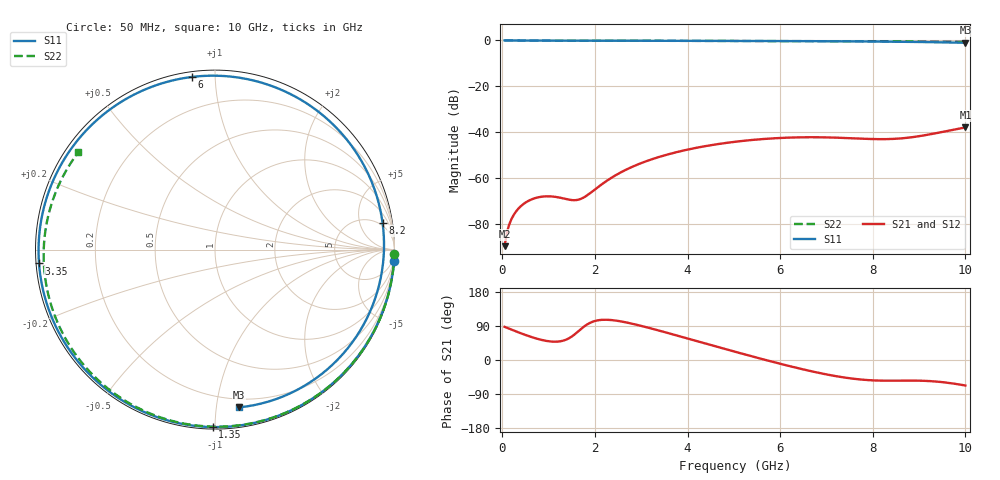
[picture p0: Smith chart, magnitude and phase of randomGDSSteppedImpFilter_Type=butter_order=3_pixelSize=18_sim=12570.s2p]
! freq	dB(S11)	phase(S11)	dB(S12)	phase(S12)
!  dB(S21)	phase(S21)	dB(S22)	phase(S22)
!S-par simulation data
#  GHz  S  DB  R 50
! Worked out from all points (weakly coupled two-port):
!   200 points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, 50 MHz to 10 GHz, reference 50 ohm
!   highest |S21| = -37.88 dB at 10 GHz (marker M1); lowest = -89.6 dB at 50 MHz (marker M2)
!   lowest |S11| = -1.0 dB at 10 GHz (marker M3), VSWR 17.04, Z = 6.87 - j57.6 ohm
!   |S11| at or under -10 dB: nowhere
!   |S22| runs from -0.6 to 0.0 dB; largest |S21 - S12| = 0
!   S11 on the Smith chart (normalised r, x): 50 MHz: 0, -30; 1.35 GHz: 0.01, -0.99; 3.35 GHz: 0.01, -0.04; 6 GHz: 0.03, +0.88; 8.2 GHz: 4, +11; 10 GHz: 0.14, -1.15
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0.05  -0.00 -3.8  -89.60 87.5  -89.60 87.5  -0.00 -1.3
0.15  -0.02 -11.3  -80.15 82.6  -80.15 82.6  -0.01 -4.0
0.35  -0.04 -26.0  -73.20 72.9  -73.20 72.9  -0.01 -9.2
0.65  -0.06 -47.2  -69.09 59.9  -69.09 59.9  -0.02 -16.9
1  -0.08 -70.1  -67.88 49.5  -67.88 49.5  -0.03 -26.0
1.35  -0.10 -90.8  -68.95 52.4  -68.95 52.4  -0.04 -34.8
1.55  -0.10 -101.6  -69.58 66.4  -69.58 66.4  -0.05 -39.9
1.75  -0.11 -111.6  -68.49 86.8  -68.49 86.8  -0.06 -44.8
2.5  -0.13 -144.5  -58.11 103.1  -58.11 103.1  -0.08 -62.9
3.35  -0.15 -175.5  -50.96 78.8  -50.96 78.8  -0.11 -82.4
3.4  -0.15 -177.2  -50.65 77.1  -50.65 77.1  -0.11 -83.5
4.2  -0.17 156.6  -46.72 49.9  -46.72 49.9  -0.14 -100.8
5.05  -0.21 129.4  -44.07 21.0  -44.07 21.0  -0.17 -118.2
6  -0.26 97.5  -42.48 -9.9  -42.48 -9.9  -0.23 -136.9
6.7  -0.31 72.0  -42.15 -30.4  -42.15 -30.4  -0.27 -150.3
7.4  -0.37 44.1  -42.48 -46.5  -42.48 -46.5  -0.33 -163.6
8.2  -0.49 9.1  -42.99 -54.5  -42.99 -54.5  -0.40 -178.9
8.35  -0.52 2.1  -42.95 -54.7  -42.95 -54.7  -0.42 178.2
8.7  -0.59 -14.5  -42.49 -54.4  -42.49 -54.4  -0.45 171.3
9.1  -0.70 -34.2  -41.37 -54.9  -41.37 -54.9  -0.49 163.3
9.6  -0.86 -59.9  -39.46 -59.8  -39.46 -59.8  -0.54 153.1
10  -1.02 -81.4  -37.88 -67.4  -37.88 -67.4  -0.59 144.6
